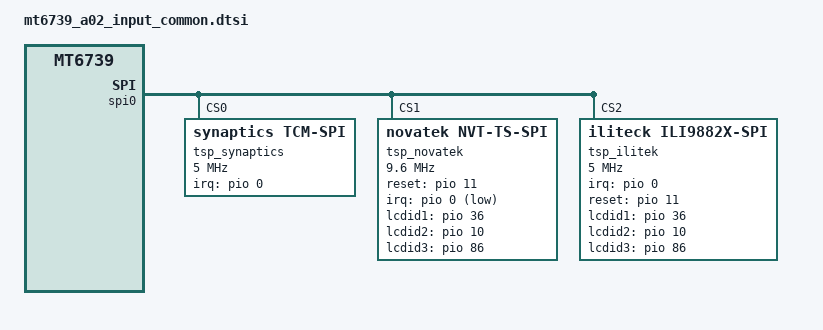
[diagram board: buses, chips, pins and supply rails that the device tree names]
/*
 * Copyright (c) 2012-2013, The Linux Foundation. All rights reserved.
 *
 * This program is free software; you can redistribute it and/or modify
 * it under the terms of the GNU General Public License version 2 and
 * only version 2 as published by the Free Software Foundation.
 *
 * This program is distributed in the hope that it will be useful,
 * but WITHOUT ANY WARRANTY; without even the implied warranty of
 * MERCHANTABILITY or FITNESS FOR A PARTICULAR PURPOSE.  See the
 * GNU General Public License for more details.
 */

&pio {
	ts_pin_init: ts_pin_init {
		pins_cmd_dat {
			pinmux = <PINMUX_GPIO0__FUNC_GPIO0>;
			slew-rate = <0>;
			bias-disable;
		};
	};

	ts_pin_sleep: ts_pin_sleep {
		pins_cmd_dat {
			pinmux = <PINMUX_GPIO0__FUNC_GPIO0>;
			slew-rate = <0>;
			bias-pull-down = <MTK_PUPD_SET_R1R0_01>;
		};
	};

	ts_rst_init: ts_rst_init {
		pins_cmd_dat {
			pinmux = <PINMUX_GPIO11__FUNC_GPIO11>;
			slew-rate = <0>;
			bias-disable;
		};
	};

	ts_rst_sleep: ts_rst_sleep {
		pins_cmd_dat {
			pinmux = <PINMUX_GPIO11__FUNC_GPIO11>;
			slew-rate = <0>;
			bias-pull-down = <MTK_PUPD_SET_R1R0_01>;
		};
	};

	spi_cs_init: spi_cs_init {
		pins_cmd_dat {
			pinmux = <PINMUX_GPIO31__FUNC_SPI0_A_CSB>;
			bias-disable;
		};
	};

	spi_cs_sleep: spi_cs_sleep {
		pins_cmd_dat {
			pinmux = <PINMUX_GPIO31__FUNC_GPIO31>;
			slew-rate = <0>;
			bias-pull-down;
		};
	};

	spi_clk_init: spi_clk_init {
		pins_cmd_dat {
			pinmux = <PINMUX_GPIO32__FUNC_SPI0_A_CLK>;
			bias-disable;
		};
	};

	spi_clk_sleep: spi_clk_sleep {
		pins_cmd_dat {
			pinmux = <PINMUX_GPIO32__FUNC_GPIO32>;
			slew-rate = <0>;
			bias-pull-down;
		};
	};

	spi_miso_init: spi_miso_init {
		pins_cmd_dat {
			pinmux = <PINMUX_GPIO33__FUNC_SPI0_A_MI>;
			bias-disable;
		};
	};

	spi_miso_sleep: spi_miso_sleep {
		pins_cmd_dat {
			pinmux = <PINMUX_GPIO33__FUNC_GPIO33>;
			slew-rate = <0>;
			bias-pull-down;
		};
	};

	spi_mosi_init: spi_mosi_init {
		pins_cmd_dat {
			pinmux = <PINMUX_GPIO34__FUNC_SPI0_A_MO>;
			bias-disable;
		};
	};

	spi_mosi_sleep: spi_mosi_sleep {
		pins_cmd_dat {
			pinmux = <PINMUX_GPIO34__FUNC_GPIO34>;
			slew-rate = <0>;
			bias-pull-down;
		};
	};
};

&spi0 {
	status = "okay";
	#address-cells = <1>;
	#size-cells = <0>;
	num-cs = <3>;

	tsp_synaptics: synaptics_tcm@0 {
		status = "okay";
		compatible = "synaptics,tcm-spi";
		reg = <0>;
		spi-max-frequency = <5000000>;
		interrupt-parent = <&pio>;
		interrupts = <0 0x2008>;
		pinctrl-names = "on_state", "off_state";
		pinctrl-0 = <&ts_pin_init &spi_cs_init &spi_clk_init &spi_miso_init &spi_mosi_init>;
		pinctrl-1 = <&ts_pin_sleep &spi_cs_sleep &spi_clk_sleep &spi_miso_sleep &spi_mosi_sleep>;
		synaptics,bus-reg-name = "vdd";
		synaptics,pwr-reg-name = "avdd";
		synaptics,irq-gpio = <&pio 0 0x2008>; /* IRQF_ONESHOT | IRQF_TRIGGER_LOW */
		synaptics,irq-on-state = <0>;
		/*synaptics,cs-gpio = <&pio 31 0>;*/
		synaptics,reset-on-state = <0>;
		synaptics,reset-active-ms = <20>;
		synaptics,reset-delay-ms = <200>;
		synaptics,power-delay-ms = <200>;
		synaptics,spi-mode = <0>;
		synaptics,byte-delay-us = <0>;
		synaptics,block-delay-us = <0>;
		synaptics,ubl-max-freq = <5000000>;
		synaptics,ubl-byte-delay-us = <20>;
		synaptics,fw_name = "tsp_synaptics/td4150_a01core.img";
		support_ear_detect_mode;
		/* tp-io reset is only used for specific tddi devices */
		/* synaptics,tpio-reset-gpio = <&msm_gpio 102 0>; */
	};
	
	/* Novatek device tree node */
	tsp_novatek: novatek@1 {
		status = "okay";
		compatible = "novatek,NVT-ts-spi";
		reg = <1>; //Same as CS ID
		spi-max-frequency = <9600000>;	//4800000,9600000,15000000,19200000
		novatek,reset-gpio = <&pio 11 0x00>;
		novatek,irq-gpio = <&pio 0 0x2001>;
		/*novatek,cs-gpio = <&pio 32 0>;*/
		pinctrl-names = "on_state", "off_state";
		pinctrl-0 = <&ts_pin_init &spi_cs_init &spi_clk_init &spi_miso_init &spi_mosi_init>;
		pinctrl-1 = <&ts_pin_sleep &spi_cs_sleep &spi_clk_sleep &spi_miso_sleep &spi_mosi_sleep>;

		novatek,resolution = <720 1600>;
		novatek,enable_settings_aot;
		novatek,support_ear_detect_mode;
		novatek,lcdid1-gpio = <&pio 36 0x0>;
		novatek,lcdid2-gpio = <&pio 10 0x0>;
		novatek,lcdid3-gpio = <&pio 86 0x0>;
		novatek,lcdid = <1 3 5>;	// CSOT a-Si, BOE a-Si CSOT LTPS
		novatek,resume_lp_delay = <0 15 0 15 0 32>;	// CSOT a-Si, BOE a-Si CSOT LTPS
		novatek,lcdtype = <0 0x0aa240 0 0x2a6240 0 0x1af240>;
		novatek,fw_name = "", "tsp_novatek/nt36525_a02_csot.bin", "", "tsp_novatek/nt36525_a02_boe.bin", "", "tsp_novatek/nt36575_a02_ltps.bin";
		novatek,fw_name_mp = "", "tsp_novatek/nt36525_a02_mp_csot.bin", "", "tsp_novatek/nt36525_a02_mp_boe.bin", "", "tsp_novatek/nt36575_a02_mp_ltps.bin";
		novatek,regulator_lcd_vdd = "gpio_lcd_en_1p8";
		novatek,regulator_lcd_reset = "gpio_lcd_rst";
		novatek,regulator_lcd_bl = "gpio_lcd_bl_en";
		novatek,enable_sysinput_enabled;
		novatek,prox_lp_scan_enabled;

		/* 525 */
		//novatek,swrst-n8-addr = <0x01F01A>;

		/* 672A, 525B, 675, 526, 672C */
		novatek,swrst-n8-addr = <0x03F0FE>;
		novatek,spi-rd-fast-addr = <0x03F310>;

		/* MP */
		novatek,mp-support-dt;

		/* nt36525_a02_csot */
		novatek-mp-criteria-721C@0 {
			#address-cells = <1>;
			#size-cells = <0>;
			compatible = "novatek-mp-criteria-721C";

			/* sec cmd test config */
			open_test_spec = <(-511) 5120>;
			short_test_spec = <10000 14008>;
			diff_test_frame = <50>;
			fdm_x_num = <2>;
		};

		/* nt36525_a02_ltps */
		novatek-mp-criteria-721B@0 {
			#address-cells = <1>;
			#size-cells = <0>;
			compatible = "novatek-mp-criteria-721B";

			/* sec cmd test config */
			open_test_spec = <(-511) 5120>;
			short_test_spec = <10000 14008>;
			diff_test_frame = <50>;
			fdm_x_num = <2>;
		};

		/* nt36525_a02_boe */
		novatek-mp-criteria-7224@0 {
			#address-cells = <1>;
			#size-cells = <0>;
			compatible = "novatek-mp-criteria-7224";

			/* sec cmd test config */
			open_test_spec = <(-511) 5120>;
			short_test_spec = <10000 14008>;
			diff_test_frame = <50>;
			fdm_x_num = <2>;
		};
	};

	tsp_ilitek: ilitek_ili9882x@2 {
		status = "okay";
		compatible = "iliteck,ili9882x-spi";
		reg = <2>;
		spi-max-frequency = <5000000>;
		pinctrl-names = "default", "pins_on_state", "pins_off_state";
		pinctrl-0 = <&ts_pin_init &ts_rst_init &spi_cs_init &spi_clk_init &spi_miso_init &spi_mosi_init>;
		pinctrl-1 = <&ts_pin_init &ts_rst_init &spi_cs_init &spi_clk_init &spi_miso_init &spi_mosi_init>;
		pinctrl-2 = <&ts_pin_sleep &ts_rst_sleep &spi_cs_sleep &spi_clk_sleep &spi_miso_sleep &spi_mosi_sleep>;
		iliteck,irq-gpio = <&pio 0 0x2008>; /* IRQF_ONESHOT | IRQF_TRIGGER_LOW */
		iliteck,reset-gpio = <&pio 11 0x0>;
		/*iliteck,cs-gpio = <&pio 21 0>;*/
		iliteck,lcdid1-gpio = <&pio 36 0x0>;
		iliteck,lcdid2-gpio = <&pio 10 0x0>;
		iliteck,lcdid3-gpio = <&pio 86 0x0>;
		iliteck,lcdid = <0>;
		iliteck,lcdtype = <0 0 0x7a6250 0 0xaa7250 0 0 0x2a6250>;
		iliteck,lcd_rst = "gpio_lcd_rst";
		iliteck,lcd_bl_en = "gpio_lcd_bl_en";
		iliteck,lcd_vddi = "gpio_lcd_en_1p8";
		iliteck,irq-on-state = <0>;
		iliteck,spi-mode = <0>;
		iliteck,byte-delay-us = <0>;
		iliteck,block-delay-us = <0>;
		iliteck,ubl-max-freq = <5000000>;
		iliteck,ubl-byte-delay-us = <20>;
		iliteck,area-size = <48 81 30>;
		iliteck,enable_settings_aot;
		iliteck,support_ear_detect_mode;
		iliteck,enable_sysinput_enabled;
		iliteck,prox_lp_scan_enabled;
		iliteck,fw_name = "", "", "tsp_ilitek/ili9882q_a02_boe.hex", "", "tsp_ilitek/ili9881x_a02.hex", "", "", "tsp_ilitek/ili9881x_a02_boe.hex";
	};
};
